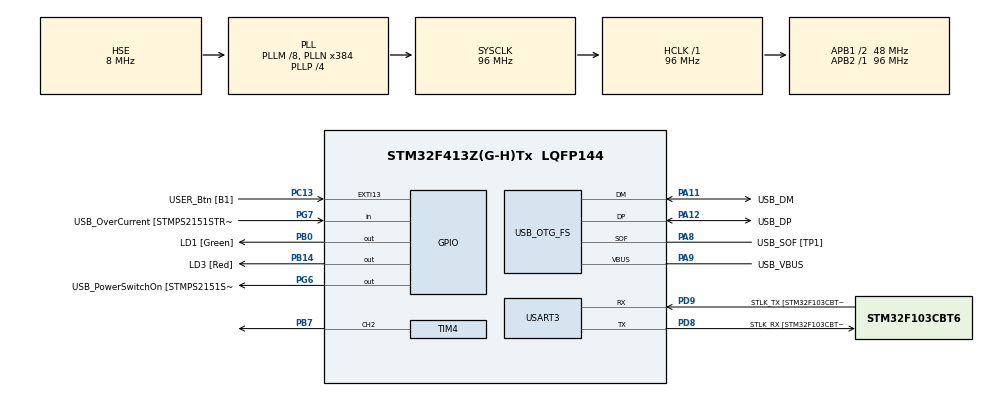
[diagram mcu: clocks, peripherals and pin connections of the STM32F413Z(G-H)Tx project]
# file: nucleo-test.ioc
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FREERTOS.Tasks01=blinkyTask,24,128,BlinkyLEDTask,Default,NULL,Dynamic,NULL,NULL
Mcu.Family=STM32F4
Mcu.Name=STM32F413Z(G-H)Tx
Mcu.Package=LQFP144
NVIC.PriorityGroup=NVIC_PRIORITYGROUP_4
NVIC.TIM6_DAC_IRQn=true\:15\:0\:false\:false\:true\:false\:false\:true\:true
NVIC.TimeBase=TIM6_DAC_IRQn
NVIC.TimeBaseIP=TIM6
PA10.GPIO_Label=USB_ID
PA10.Signal=USB_OTG_FS_ID
PA11.GPIO_Label=USB_DM
PA11.Mode=Device_Only
PA11.Signal=USB_OTG_FS_DM
PA12.GPIO_Label=USB_DP
PA12.Mode=Device_Only
PA12.Signal=USB_OTG_FS_DP
PA13.GPIO_Label=TMS
PA13.Mode=Serial_Wire
PA13.Signal=SYS_JTMS-SWDIO
PA14.GPIO_Label=TCK
PA14.Mode=Serial_Wire
PA14.Signal=SYS_JTCK-SWCLK
PA8.GPIO_Label=USB_SOF [TP1]
PA8.Mode=Activate_SOF_FS
PA8.Signal=USB_OTG_FS_SOF
PA9.GPIO_Label=USB_VBUS
PA9.Mode=Activate_VBUS
PA9.Signal=USB_OTG_FS_VBUS
PB0.GPIO_Label=LD1 [Green]
PB0.Signal=GPIO_Output
PB14.GPIO_Label=LD3 [Red]
PB14.Signal=GPIO_Output
PB3.GPIO_Label=SWO
PB3.Signal=SYS_JTDO-SWO
PB7.Signal=S_TIM4_CH2
PC13.GPIO_Label=USER_Btn [B1]
PC13.Signal=GPXTI13
PC14-OSC32_IN.Mode=LSE-External-Oscillator
PC14-OSC32_IN.Signal=RCC_OSC32_IN
PC15-OSC32_OUT.Mode=LSE-External-Oscillator
PC15-OSC32_OUT.Signal=RCC_OSC32_OUT
PD8.GPIO_Label=STLK_RX [STM32F103CBT6_PA3]
PD8.Mode=Asynchronous
PD8.Signal=USART3_TX
PD9.GPIO_Label=STLK_TX [STM32F103CBT6_PA2]
PD9.Mode=Asynchronous
PD9.Signal=USART3_RX
PG6.GPIO_Label=USB_PowerSwitchOn [STMPS2151STR_EN]
PG6.Signal=GPIO_Output
PG7.GPIO_Label=USB_OverCurrent [STMPS2151STR_FAULT]
PG7.Signal=GPIO_Input
PH0\ -\ OSC_IN.GPIO_Label=MCO
PH0\ -\ OSC_IN.Mode=HSE-External-Clock-Source
PH0\ -\ OSC_IN.Signal=RCC_OSC_IN
PH1\ -\ OSC_OUT.Mode=HSE-External-Clock-Source
PH1\ -\ OSC_OUT.Signal=RCC_OSC_OUT
ProjectManager.HeapSize=0x200
ProjectManager.StackSize=0x400
ProjectManager.TargetToolchain=STM32CubeIDE
RCC.48MHZClocksFreq_Value=24000000
RCC.AHBFreq_Value=96000000
RCC.APB1CLKDivider=RCC_HCLK_DIV2
RCC.APB1Freq_Value=48000000
RCC.APB1TimFreq_Value=96000000
RCC.APB2Freq_Value=96000000
RCC.APB2TimFreq_Value=96000000
RCC.CortexFreq_Value=96000000
RCC.HCLKFreq_Value=96000000
RCC.HSE_VALUE=8000000
RCC.HSI_VALUE=16000000
RCC.PLLM=8
RCC.PLLMUL=RCC_PLL_MUL9
RCC.PLLN=384
RCC.PLLP=RCC_PLLP_DIV4
RCC.PLLQ=8
RCC.PRESCALERUSB=RCC_USBCLKSOURCE_PLL_DIV1_5
RCC.SYSCLKFreq_VALUE=96000000
RCC.SYSCLKSource=RCC_SYSCLKSOURCE_PLLCLK
RCC.SYSCLKSourceVirtual=RCC_SYSCLKSOURCE_PLLCLK
RCC.USBFreq_Value=48000000
RCC.VCOOutputFreq_Value=384000000
SH.S_TIM4_CH2.0=TIM4_CH2,PWM Generation2 CH2
TIM4.AutoReloadPreload=TIM_AUTORELOAD_PRELOAD_DISABLE
TIM4.Channel-PWM\ Generation2\ CH2=TIM_CHANNEL_2
TIM4.Period=1000
TIM4.Prescaler=500
USART3.VirtualMode=VM_ASYNC
USB_OTG_FS.VirtualMode=Device_Only
VP_FREERTOS_VS_CMSIS_V2.Mode=CMSIS_V2
VP_SYS_VS_tim6.Mode=TIM6
board=NUCLEO-F413ZH

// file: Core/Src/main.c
/* USER CODE BEGIN Header */
/**
  ******************************************************************************
  * @file           : main.c
  * @brief          : Main program body
  ******************************************************************************
  * @attention
  *
  * Copyright (c) 2023 STMicroelectronics.
  * All rights reserved.
  *
  * This software is licensed under terms that can be found in the LICENSE file
  * in the root directory of this software component.
  * If no LICENSE file comes with this software, it is provided AS-IS.
  *
  ******************************************************************************
  */
/* USER CODE END Header */
#include "main.h"
#include "cmsis_os.h"

TIM_HandleTypeDef htim4;

UART_HandleTypeDef huart3;

PCD_HandleTypeDef hpcd_USB_OTG_FS;

/* Definitions for blinkyTask */
osThreadId_t blinkyTaskHandle;
const osThreadAttr_t blinkyTask_attributes = {
  .name = "blinkyTask",
  .stack_size = 128 * 4,
  .priority = (osPriority_t) osPriorityNormal,
};
/* USER CODE BEGIN PV */
volatile uint8_t buttonReleased = 1;

/* USER CODE END PV */

void SystemClock_Config(void);
static void MX_GPIO_Init(void);
static void MX_USART3_UART_Init(void);
static void MX_USB_OTG_FS_PCD_Init(void);
static void MX_TIM4_Init(void);
void BlinkyLEDTask(void *argument);

int main(void)
{

  /* MCU Configuration--------------------------------------------------------*/

  /* Reset of all peripherals, Initializes the Flash interface and the Systick. */
  HAL_Init();

  /* Configure the system clock */
  SystemClock_Config();

  /* Initialize all configured peripherals */
  MX_GPIO_Init();
  MX_USART3_UART_Init();
  MX_USB_OTG_FS_PCD_Init();
  MX_TIM4_Init();
  /* USER CODE BEGIN 2 */

  /* Enable TIM7 = TIM7->CR1 |= TIM_CR1_CEN */
  HAL_TIM_PWM_Start(&htim4, TIM_CHANNEL_2);

  /* USER CODE END 2 */

  /* Init scheduler */
  osKernelInitialize();

  /* Create the thread(s) */
  /* creation of blinkyTask */
  blinkyTaskHandle = osThreadNew(BlinkyLEDTask, NULL, &blinkyTask_attributes);

  /* Start scheduler */
  osKernelStart();

  /* We should never get here as control is now taken by the scheduler */
  /* Infinite loop */
  while (1)
  {

  }
}

void SystemClock_Config(void)
{
  RCC_OscInitTypeDef RCC_OscInitStruct = {0};
  RCC_ClkInitTypeDef RCC_ClkInitStruct = {0};

  /** Configure the main internal regulator output voltage
  */
  __HAL_RCC_PWR_CLK_ENABLE();
  __HAL_PWR_VOLTAGESCALING_CONFIG(PWR_REGULATOR_VOLTAGE_SCALE1);

  /** Initializes the RCC Oscillators according to the specified parameters
  * in the RCC_OscInitTypeDef structure.
  */
  RCC_OscInitStruct.OscillatorType = RCC_OSCILLATORTYPE_HSE;
  RCC_OscInitStruct.HSEState = RCC_HSE_BYPASS;
  RCC_OscInitStruct.PLL.PLLState = RCC_PLL_ON;
  RCC_OscInitStruct.PLL.PLLSource = RCC_PLLSOURCE_HSE;
  RCC_OscInitStruct.PLL.PLLM = 8;
  RCC_OscInitStruct.PLL.PLLN = 384;
  RCC_OscInitStruct.PLL.PLLP = RCC_PLLP_DIV4;
  RCC_OscInitStruct.PLL.PLLQ = 8;
  RCC_OscInitStruct.PLL.PLLR = 2;
  if (HAL_RCC_OscConfig(&RCC_OscInitStruct) != HAL_OK)
  {
    Error_Handler();
  }

  /** Initializes the CPU, AHB and APB buses clocks
  */
  RCC_ClkInitStruct.ClockType = RCC_CLOCKTYPE_HCLK|RCC_CLOCKTYPE_SYSCLK
                              |RCC_CLOCKTYPE_PCLK1|RCC_CLOCKTYPE_PCLK2;
  RCC_ClkInitStruct.SYSCLKSource = RCC_SYSCLKSOURCE_PLLCLK;
  RCC_ClkInitStruct.AHBCLKDivider = RCC_SYSCLK_DIV1;
  RCC_ClkInitStruct.APB1CLKDivider = RCC_HCLK_DIV2;
  RCC_ClkInitStruct.APB2CLKDivider = RCC_HCLK_DIV1;

  if (HAL_RCC_ClockConfig(&RCC_ClkInitStruct, FLASH_LATENCY_3) != HAL_OK)
  {
    Error_Handler();
  }
}

static void MX_TIM4_Init(void)
{

  TIM_MasterConfigTypeDef sMasterConfig = {0};
  TIM_OC_InitTypeDef sConfigOC = {0};

  htim4.Instance = TIM4;
  htim4.Init.Prescaler = 500;
  htim4.Init.CounterMode = TIM_COUNTERMODE_UP;
  htim4.Init.Period = 1000;
  htim4.Init.ClockDivision = TIM_CLOCKDIVISION_DIV1;
  htim4.Init.AutoReloadPreload = TIM_AUTORELOAD_PRELOAD_DISABLE;
  if (HAL_TIM_PWM_Init(&htim4) != HAL_OK)
  {
    Error_Handler();
  }
  sMasterConfig.MasterOutputTrigger = TIM_TRGO_RESET;
  sMasterConfig.MasterSlaveMode = TIM_MASTERSLAVEMODE_DISABLE;
  if (HAL_TIMEx_MasterConfigSynchronization(&htim4, &sMasterConfig) != HAL_OK)
  {
    Error_Handler();
  }
  sConfigOC.OCMode = TIM_OCMODE_PWM1;
  sConfigOC.Pulse = 1000;
  sConfigOC.OCPolarity = TIM_OCPOLARITY_HIGH;
  sConfigOC.OCFastMode = TIM_OCFAST_DISABLE;
  if (HAL_TIM_PWM_ConfigChannel(&htim4, &sConfigOC, TIM_CHANNEL_2) != HAL_OK)
  {
    Error_Handler();
  }
  HAL_TIM_MspPostInit(&htim4);

}

static void MX_USART3_UART_Init(void)
{

  huart3.Instance = USART3;
  huart3.Init.BaudRate = 115200;
  huart3.Init.WordLength = UART_WORDLENGTH_8B;
  huart3.Init.StopBits = UART_STOPBITS_1;
  huart3.Init.Parity = UART_PARITY_NONE;
  huart3.Init.Mode = UART_MODE_TX_RX;
  huart3.Init.HwFlowCtl = UART_HWCONTROL_NONE;
  huart3.Init.OverSampling = UART_OVERSAMPLING_16;
  if (HAL_UART_Init(&huart3) != HAL_OK)
  {
    Error_Handler();
  }

}

static void MX_USB_OTG_FS_PCD_Init(void)
{

  hpcd_USB_OTG_FS.Instance = USB_OTG_FS;
  hpcd_USB_OTG_FS.Init.dev_endpoints = 6;
  hpcd_USB_OTG_FS.Init.speed = PCD_SPEED_FULL;
  hpcd_USB_OTG_FS.Init.dma_enable = DISABLE;
  hpcd_USB_OTG_FS.Init.phy_itface = PCD_PHY_EMBEDDED;
  hpcd_USB_OTG_FS.Init.Sof_enable = ENABLE;
  hpcd_USB_OTG_FS.Init.low_power_enable = DISABLE;
  hpcd_USB_OTG_FS.Init.lpm_enable = DISABLE;
  hpcd_USB_OTG_FS.Init.battery_charging_enable = ENABLE;
  hpcd_USB_OTG_FS.Init.vbus_sensing_enable = ENABLE;
  hpcd_USB_OTG_FS.Init.use_dedicated_ep1 = DISABLE;
  if (HAL_PCD_Init(&hpcd_USB_OTG_FS) != HAL_OK)
  {
    Error_Handler();
  }

}

static void MX_GPIO_Init(void)
{
  GPIO_InitTypeDef GPIO_InitStruct = {0};

  /* GPIO Ports Clock Enable */
  __HAL_RCC_GPIOC_CLK_ENABLE();
  __HAL_RCC_GPIOH_CLK_ENABLE();
  __HAL_RCC_GPIOB_CLK_ENABLE();
  __HAL_RCC_GPIOD_CLK_ENABLE();
  __HAL_RCC_GPIOG_CLK_ENABLE();
  __HAL_RCC_GPIOA_CLK_ENABLE();

  /*Configure GPIO pin Output Level */
  HAL_GPIO_WritePin(GPIOB, LD1_Pin|LD3_Pin, GPIO_PIN_RESET);

  /*Configure GPIO pin Output Level */
  HAL_GPIO_WritePin(USB_PowerSwitchOn_GPIO_Port, USB_PowerSwitchOn_Pin, GPIO_PIN_RESET);

  /*Configure GPIO pin : USER_Btn_Pin */
  GPIO_InitStruct.Pin = USER_Btn_Pin;
  GPIO_InitStruct.Mode = GPIO_MODE_IT_RISING;
  GPIO_InitStruct.Pull = GPIO_NOPULL;
  HAL_GPIO_Init(USER_Btn_GPIO_Port, &GPIO_InitStruct);

  /*Configure GPIO pins : LD1_Pin LD3_Pin */
  GPIO_InitStruct.Pin = LD1_Pin|LD3_Pin;
  GPIO_InitStruct.Mode = GPIO_MODE_OUTPUT_PP;
  GPIO_InitStruct.Pull = GPIO_NOPULL;
  GPIO_InitStruct.Speed = GPIO_SPEED_FREQ_LOW;
  HAL_GPIO_Init(GPIOB, &GPIO_InitStruct);

  /*Configure GPIO pin : USB_PowerSwitchOn_Pin */
  GPIO_InitStruct.Pin = USB_PowerSwitchOn_Pin;
  GPIO_InitStruct.Mode = GPIO_MODE_OUTPUT_PP;
  GPIO_InitStruct.Pull = GPIO_NOPULL;
  GPIO_InitStruct.Speed = GPIO_SPEED_FREQ_LOW;
  HAL_GPIO_Init(USB_PowerSwitchOn_GPIO_Port, &GPIO_InitStruct);

  /*Configure GPIO pin : USB_OverCurrent_Pin */
  GPIO_InitStruct.Pin = USB_OverCurrent_Pin;
  GPIO_InitStruct.Mode = GPIO_MODE_INPUT;
  GPIO_InitStruct.Pull = GPIO_NOPULL;
  HAL_GPIO_Init(USB_OverCurrent_GPIO_Port, &GPIO_InitStruct);

}

void BlinkyLEDTask(void *argument)
{
  /* USER CODE BEGIN 5 */
  uint8_t cnt = 0;
  uint32_t newDutyCycle = 0;

  /* Infinite loop */
  for (;;)
  {

	if (HAL_GPIO_ReadPin(USER_Btn_GPIO_Port, USER_Btn_Pin) != GPIO_PIN_RESET && buttonReleased)
    {
		buttonReleased = 0;
		/* continous count for chaning brightness */
		cnt = (cnt + 1) % 4;

		switch (cnt)
		{
		case 0:
			newDutyCycle = 1000;
			break;

		case 1:
			newDutyCycle = 750;
			break;

		case 2:
			newDutyCycle = 500;
			break;

		case 3:
			newDutyCycle = 250;
			break;

		default:
			newDutyCycle = 0;
			break;
		}

		/* Set CCR2 Value */
		__HAL_TIM_SET_COMPARE(&htim4, TIM_CHANNEL_2, newDutyCycle);
    }
	else if (HAL_GPIO_ReadPin(USER_Btn_GPIO_Port, USER_Btn_Pin) == GPIO_PIN_RESET)
	{
		buttonReleased = 1;
	}
	osDelay(1);
  }
  /* USER CODE END 5 */
}

void HAL_TIM_PeriodElapsedCallback(TIM_HandleTypeDef *htim)
{
  if (htim->Instance == TIM6) {
    HAL_IncTick();
  }
}

void Error_Handler(void)
{
  __disable_irq();
  while (1)
  {
  }
}
